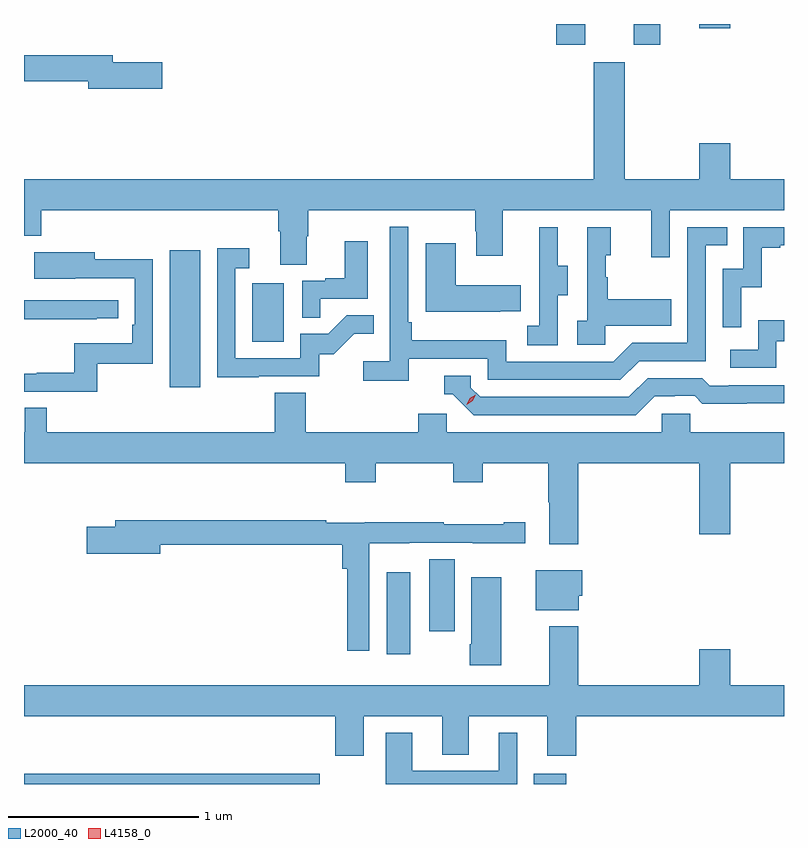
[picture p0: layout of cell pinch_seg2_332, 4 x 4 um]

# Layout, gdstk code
import gdstk
lib = gdstk.Library(unit=1e-6, precision=1e-09)
def R(c, l, rs):  # rectangles x0, y0, x1, y1
    for r in rs: c.add(gdstk.rectangle(r[:2], r[2:], *l))
def P(c, l, *ps):  # polygons
    for p in ps: c.add(gdstk.Polygon(p, *l))
L2000_40 = (2000, 40)
L4158_0 = (4158, 0)

pinch_seg2_332 = lib.new_cell('pinch_seg2_332')
R(pinch_seg2_332, L2000_40, [(988.626,643.284,990.183,643.339), (991.31,643.284,991.481,643.339), (990.536,643.968,990.658,644.398), (990.758,644.088,990.892,644.468), (989.393,645.372,989.554,646.093), (989.828,645.612,989.992,645.919), (991.427,647.175,991.579,647.284), (991.835,647.175,991.975,647.284), (992.18,647.262,992.344,647.284)])
P(pinch_seg2_332, L2000_40, [(989.353,647.084),(989.092,647.084),(989.092,647.12),(988.626,647.12),(988.626,646.984),(988.964,646.984),(988.964,646.942),(989.353,646.942)],
  [(990.115,646.167),(990.123,646.167),(990.123,646.304),(991,646.304),(991,646.193),(991.007,646.193),(991.007,646.065),(991.147,646.065),(991.147,646.304),(991.928,646.304),(991.928,646.056),(992.025,646.056),(992.025,646.304),(992.626,646.304),(992.626,646.468),(992.344,646.468),(992.344,646.657),(992.18,646.657),(992.18,646.468),(991.789,646.468),(991.789,647.083),(991.625,647.083),(991.625,646.468),(988.626,646.468),(988.626,646.169),(988.718,646.169),(988.718,646.304),(989.963,646.304),(989.963,646.192),(989.975,646.192),(989.975,646.018),(990.115,646.018)],
  [(990.65,645.522),(991.068,645.522),(991.068,645.411),(991.765,645.411),(991.864,645.51),(992.214,645.51),(992.214,646.119),(992.327,646.119),(992.327,646.215),(992.118,646.215),(992.118,645.606),(991.827,645.606),(991.728,645.507),(991.164,645.507),(991.164,645.619),(990.668,645.619),(990.668,645.715),(990.648,645.715),(990.648,646.216),(990.552,646.216),(990.552,645.508),(990.411,645.508),(990.411,645.406),(990.65,645.406)],
  [(992.4,645.899),(992.51,645.899),(992.51,646.107),(992.605,646.107),(992.605,646.119),(992.626,646.119),(992.626,646.215),(992.412,646.215),(992.412,645.996),(992.304,645.996),(992.304,645.687),(992.4,645.687)],
  [(991.434,645.856),(991.489,645.856),(991.489,646.011),(991.435,646.011),(991.435,646.213),(991.337,646.213),(991.337,645.999),(991.338,645.999),(991.338,645.695),(991.275,645.695),(991.275,645.592),(991.434,645.592)],
  [(991.686,645.695),(992.033,645.695),(992.033,645.835),(991.699,645.835),(991.699,645.95),(991.689,645.95),(991.689,646.068),(991.714,646.068),(991.714,646.213),(991.59,646.213),(991.59,645.722),(991.539,645.722),(991.539,645.597),(991.686,645.597)],
  [(990.185,645.837),(990.436,645.837),(990.436,646.141),(990.314,646.141),(990.314,645.946),(990.211,645.946),(990.211,645.933),(990.09,645.933),(990.09,645.739),(990.185,645.739)],
  [(991.133,645.773),(991.241,645.773),(991.241,645.91),(990.898,645.91),(990.898,646.129),(990.74,646.129),(990.74,645.77),(991.133,645.77)],
  [(989.861,645.429),(990.18,645.429),(990.18,645.546),(990.256,645.546),(990.363,645.653),(990.467,645.653),(990.467,645.752),(990.324,645.752),(990.226,645.654),(990.081,645.654),(990.081,645.525),(989.739,645.525),(989.739,645.999),(989.812,645.999),(989.812,646.105),(989.643,646.105),(989.643,645.424),(989.861,645.424)],
  [(989.011,645.495),(989.304,645.495),(989.304,646.046),(988.999,646.046),(988.999,646.084),(988.681,646.084),(988.681,645.944),(988.895,645.944),(988.895,645.945),(989.208,645.945),(989.208,645.7),(989.195,645.7),(989.195,645.604),(988.89,645.604),(988.89,645.449),(988.693,645.449),(988.693,645.444),(988.626,645.444),(988.626,645.348),(989.011,645.348)],
  [(989.009,645.735),(989.122,645.735),(989.122,645.831),(988.626,645.831),(988.626,645.73),(989.009,645.73)],
  [(992.586,645.615),(992.626,645.615),(992.626,645.724),(992.49,645.724),(992.49,645.57),(992.343,645.57),(992.343,645.474),(992.586,645.474)],
  [(991.945,645.324),(992.052,645.324),(992.052,645.327),(992.155,645.327),(992.197,645.285),(992.43,645.285),(992.43,645.287),(992.626,645.287),(992.626,645.384),(992.335,645.384),(992.335,645.381),(992.236,645.381),(992.197,645.42),(991.908,645.42),(991.809,645.321),(991.026,645.321),(990.978,645.369),(990.978,645.432),(990.839,645.432),(990.839,645.336),(990.882,645.336),(990.993,645.225),(991.846,645.225)],
  [(990.701,645.234),(990.701,645.136),(990.11,645.136),(990.11,645.344),(989.945,645.344),(989.945,645.136),(988.745,645.136),(988.745,645.263),(988.629,645.263),(988.629,645.136),(988.626,645.136),(988.626,644.972),(990.317,644.972),(990.317,644.873),(990.477,644.873),(990.477,644.972),(990.886,644.972),(990.886,644.873),(991.041,644.873),(991.041,644.972),(991.384,644.972),(991.384,644.768),(991.391,644.768),(991.391,644.547),(991.544,644.547),(991.544,644.972),(992.18,644.972),(992.18,644.598),(992.344,644.598),(992.344,644.972),(992.626,644.972),(992.626,645.136),(992.133,645.136),(992.133,645.234),(991.983,645.234),(991.983,645.136),(990.852,645.136),(990.852,645.234)],
  [(990.444,644.552),(990.654,644.552),(990.654,644.553),(990.988,644.553),(990.988,644.552),(991.264,644.552),(991.264,644.662),(991.151,644.662),(991.151,644.652),(990.836,644.652),(990.836,644.662),(990.42,644.662),(990.42,644.66),(990.218,644.66),(990.218,644.671),(989.105,644.671),(989.105,644.637),(988.956,644.637),(988.956,644.495),(989.344,644.495),(989.344,644.542),(990.302,644.542),(990.302,644.417),(990.328,644.417),(990.328,643.986),(990.444,643.986)],
  [(991.546,644.274),(991.564,644.274),(991.564,644.41),(991.319,644.41),(991.319,644.198),(991.546,644.198)],
  [(991.138,644.371),(990.98,644.371),(990.98,644.02),(990.973,644.02),(990.973,643.908),(991.138,643.908)],
  [(990.415,643.64),(990.827,643.64),(990.827,643.438),(990.967,643.438),(990.967,643.64),(991.379,643.64),(991.379,643.434),(991.532,643.434),(991.532,643.64),(992.626,643.64),(992.626,643.804),(992.344,643.804),(992.344,643.993),(992.18,643.993),(992.18,643.804),(991.544,643.804),(991.544,644.113),(991.391,644.113),(991.391,643.804),(988.626,643.804),(988.626,643.64),(990.263,643.64),(990.263,643.434),(990.415,643.434)],
  [(991.222,643.555),(991.124,643.555),(991.124,643.353),(990.67,643.353),(990.67,643.555),(990.531,643.555),(990.531,643.284),(991.222,643.284)])
P(pinch_seg2_332, L4158_0, [(990.957,645.281),(990.957,645.281),(990.973,645.314),(991.003,645.334),(991.004,645.334),(991.004,645.333),(990.988,645.301),(990.957,645.281)])

lib.write_gds('pinch_seg2_332.gds')
